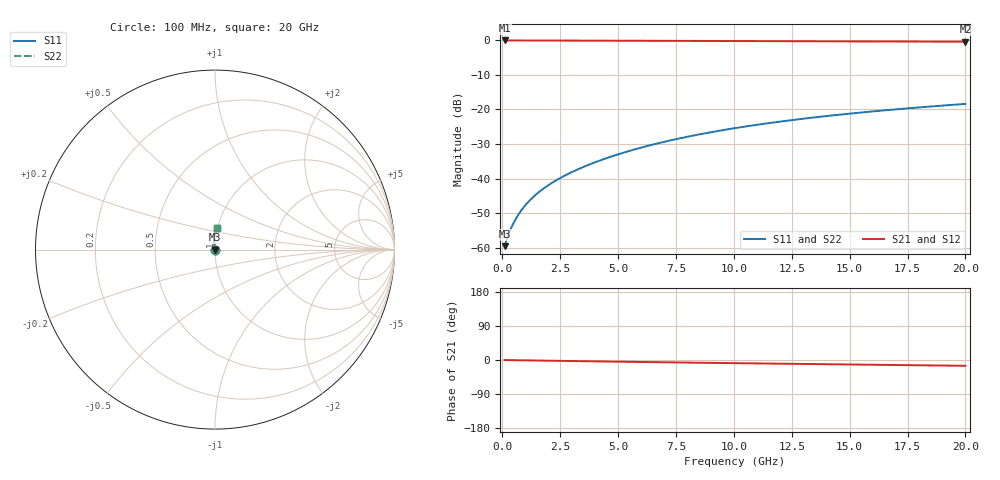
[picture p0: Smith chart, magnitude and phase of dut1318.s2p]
! Touchstone file exported from HFSS 2024.1.0
!  File:  C:/UserFiles/LocalFiles/RDL_TSV_Batchsim/temp_RDL_top_1318_1780364960.aedt
!  Generated:  09:51:16 AM Jun  2, 2026
!  Design:  RDL_top
!  Project:  temp_RDL_top_1318_1780364960
!  Setup:  Setup1
!  Solution:  Sweep
! Variables:
!  dtsv = 10.80580581um
!  hbump = 3um
!  htsv = 66.49um
!  ldown = 100um
!  lrdl = 233.97um
!  p = 40
!  p1 = 44.13um
!  rhole = 1um
!  t = 450um
!  tdown = 3.915915916um
!  trdl = 4.16um
!  wdown = 15.38538539um
!  wrdl = 28.83um
# GHz S MA R 50.000000
! Terminal data exported
! Port[1] = Box2_T1
! Port[2] = Box2_T2
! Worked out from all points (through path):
!   200 points, 100 MHz to 20 GHz, reference 50 ohm
!   highest |S21| = -0.01 dB at 100 MHz (marker M1); lowest = -0.4 dB at 20 GHz (marker M2)
!   group delay of S21, straight-line fit = 2.09 ps
!   lowest |S11| = -59.6 dB at 100 MHz (marker M3), VSWR 1.00, Z = 50.1 + j0.0508 ohm
!   |S11| at or under -10 dB: start of sweep to end of sweep
!   |S22| runs from -59.6 to -18.4 dB; largest |S21 - S12| = 3e-15
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0.1  0.001048 28.9  0.9991 -0.1  0.9991 -0.1  0.001048 28.9
! Gamma 0 0 0 0
! Port Impedance 50 0 50 0
0.2  0.001355 42.8  0.999 -0.2  0.999 -0.2  0.001355 42.8
0.3  0.001662 51.6  0.9989 -0.3  0.9989 -0.3  0.001663 51.6
0.5  0.002316 63.2  0.9987 -0.5  0.9987 -0.5  0.002316 63.2
0.6  0.002662 67.1  0.9987 -0.6  0.9987 -0.6  0.002663 67.1
0.8  0.003382 72.8  0.9985 -0.8  0.9985 -0.8  0.003382 72.8
1  0.004125 76.8  0.9984 -0.9  0.9984 -0.9  0.004125 76.8
1.2  0.004884 79.8  0.9982 -1.1  0.9982 -1.1  0.004883 79.8
1.7  0.00684 84.9  0.9976 -1.6  0.9976 -1.6  0.006839 84.9
2.2  0.008885 88.4  0.9969 -2.0  0.9969 -2.0  0.008885 88.4
2.8  0.01148 91.5  0.9958 -2.6  0.9958 -2.6  0.01148 91.5
3.5  0.01471 94.0  0.9943 -3.2  0.9943 -3.2  0.01471 94.0
4.2  0.01817 95.8  0.9927 -3.8  0.9927 -3.8  0.01817 95.8
5  0.0224 97.1  0.9907 -4.5  0.9907 -4.5  0.0224 97.1
5.9  0.02748 97.8  0.9883 -5.2  0.9883 -5.2  0.02748 97.8
6.8  0.03283 98.0  0.986 -5.9  0.986 -5.9  0.03283 98.0
8.4  0.04288 97.5  0.9819 -7.1  0.9819 -7.1  0.04288 97.5
10.1  0.05403 96.2  0.9778 -8.4  0.9778 -8.4  0.05403 96.2
11.7  0.06476 94.6  0.9743 -9.5  0.9743 -9.5  0.06476 94.6
13.4  0.07626 92.8  0.9709 -10.7  0.9709 -10.7  0.07625 92.8
16.7  0.0985 89.1  0.9649 -13.0  0.9649 -13.0  0.09849 89.1
20  0.1204 85.6  0.9595 -15.3  0.9595 -15.3  0.1203 85.6
